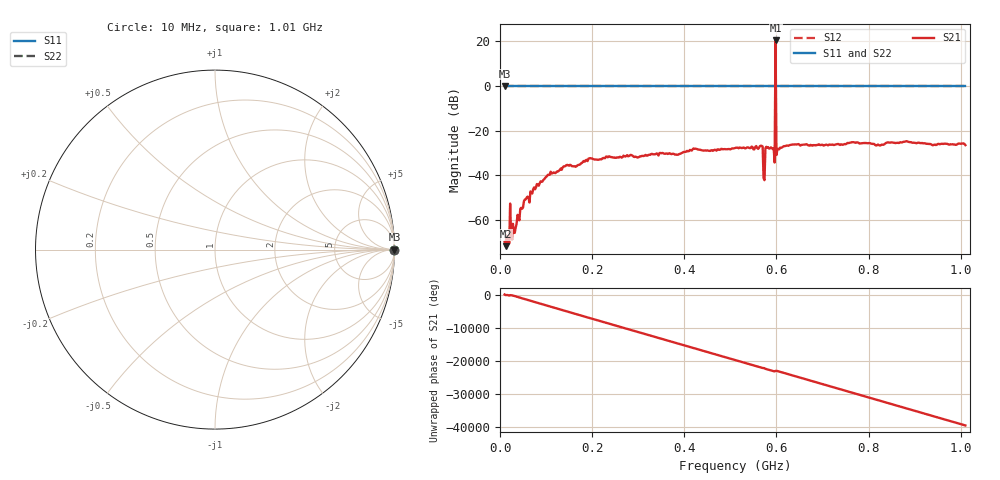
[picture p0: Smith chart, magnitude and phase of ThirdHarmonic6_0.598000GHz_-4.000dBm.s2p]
! 8/15/2025 7:28:38 PM
! C:\ANRITSUVNA\TEMP\TEMP.S2P
! CHANNEL.1
! TR.MEASUREMENT
! RAW.DATA
! RF.CORRECTION.OFF
! AVERAGING.OFF
! IF.BANDWIDTH: 5KHZ
! SWEEPTYPE:  FREQ.SWEEP(Linear)
! Reference Plane Port Info
! PORT:  PORT1  PORT2
! DISTANCE:  0  m  0  m
! TIME:  0  s  0  s
! PHASE.OFFSET:  0  deg.  0  deg.
! LOSS:  0  dB  0  dB
! REF.LOSS:  0  dB  0  dB
! REF.FREQ:  0  Hz  0  Hz
! Power Info
! POWER:  -20  dBm  -20  dBm
! EFF.POWER:  -20  dBm  -20  dBm
! SOURCE.ATTEN:  0  dB  0  dB
! TEST.ATTEN:  0  dB  0  dB
# GHZ S RI R 50.0
! FREQ.GHZ  S11RE  S11IM  S21RE  S21IM  S12RE  S12IM  S22RE  S22IM
!; PortSelection: Port_12
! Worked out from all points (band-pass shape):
!   501 points, 10 MHz to 1.01 GHz, reference 50 ohm
!   highest |S21| = 20.38 dB at 598 MHz (marker M1); lowest = -71.6 dB at 12 MHz (marker M2)
!   |S21| within 3 dB of the highest: 597.8901 MHz to 598.117 MHz (226.9 kHz wide, 0.0379 % of centre)
!   lowest |S11| = 0.0 dB at 10 MHz (marker M3)
!   |S11| at or under -10 dB: nowhere
!   |S22| runs from 0.0 to 0.0 dB; largest |S21 - S12| = 11
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0.01  1 0  -0.000186 0.000268  1 0  1 0
0.012  1 0  0.000223 -0.000138  1 0  1 0
0.026  1 0  -0.000154 -0.000331  1 0  1 0
0.03  1 0  -0.000124 0.000508  1 0  1 0
0.056  1 0  -0.000411 0.0029  1 0  1 0
0.076  1 0  0.00487 0.000512  1 0  1 0
0.108  1 0  -0.0082 0.00641  1 0  1 0
0.178  1 0  -0.0187 -0.00363  1 0  1 0
0.344  1 0  0.0277 -0.00356  1 0  1 0
0.51  1 0  -0.037 0.018  1 0  1 0
0.566  1 0  0.0203 0.0417  1 0  1 0
0.57  1 0  -0.00786 -0.0438  1 0  1 0
0.576  1 0  0.0398 0.00903  1 0  1 0
0.58  1 0  -0.0345 -0.0242  1 0  1 0
0.592  1 0  -0.00364 0.0386  1 0  1 0
0.594  1 0  0.0389 0.0112  1 0  1 0
0.598  1 0  -3.154 9.959  1 0  1 0
0.602  1 0  0.0211 0.0325  1 0  1 0
0.604  1 0  0.0365 -0.0149  1 0  1 0
0.678  1 0  -0.0252 -0.0388  1 0  1 0
0.844  1 0  0.0442 0.0317  1 0  1 0
1.01  1 0  -0.0474 -0.0046  1 0  1 0
